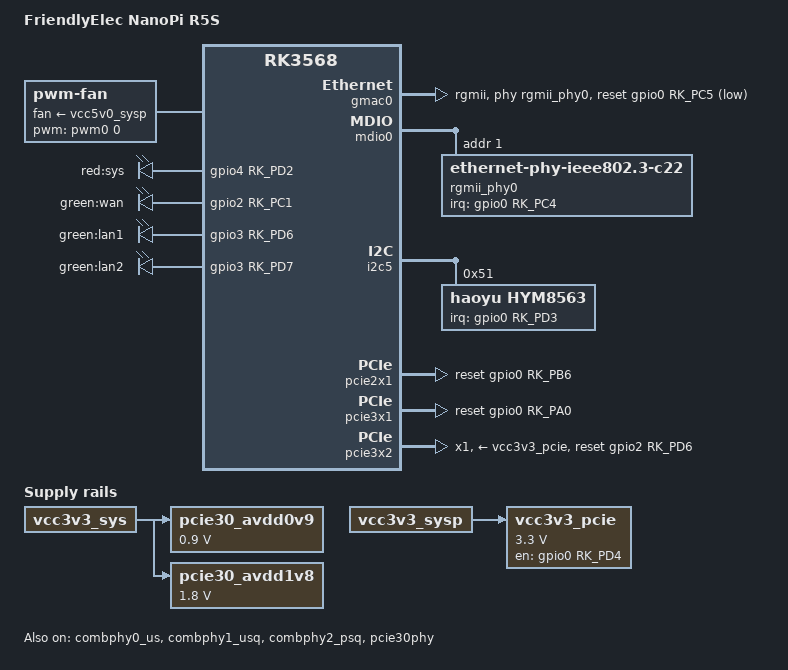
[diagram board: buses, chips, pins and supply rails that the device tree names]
// SPDX-License-Identifier: (GPL-2.0+ OR MIT)
/*
 * Copyright (c) 2021 FriendlyElec Computer Tech. Co., Ltd.
 * (http://www.friendlyarm.com)
 *
 * Copyright (c) 2020 Rockchip Electronics Co., Ltd.
 */

/dts-v1/;

#include "rk3568.dtsi"
#include "rk3568-nanopi5-common.dtsi"

/ {
	model = "FriendlyElec NanoPi R5S";
	compatible = "friendlyelec,nanopi-r5s", "rockchip,rk3568";

	aliases {
		ethernet1 = &r8125_1;
		led-boot = &sys_led;
		led-failsafe = &sys_led;
		led-running = &sys_led;
		led-upgrade = &sys_led;
	};

	fan: pwm-fan {
		compatible = "pwm-fan";
		cooling-levels = <0 18 102 170 255>;
		#cooling-cells = <2>;
		fan-supply = <&vcc5v0_sysp>;
		pwms = <&pwm0 0 50000 0>;
	};

	gpio_leds: gpio-leds {
		compatible = "gpio-leds";
		pinctrl-names = "default";
		pinctrl-0 = <&sys_led_pin>,
			<&wan_led_pin>,
			<&lan1_led_pin>,
			<&lan2_led_pin>;
		sys_led: led-0 {
			gpios = <&gpio4 RK_PD2 GPIO_ACTIVE_HIGH>;
			label = "red:sys";
			linux,default-trigger = "heartbeat";
		};

		wan_led: led-1 {
			gpios = <&gpio2 RK_PC1 GPIO_ACTIVE_HIGH>;
			label = "green:wan";
		};

		lan1_led: led-2 {
			gpios = <&gpio3 RK_PD6 GPIO_ACTIVE_HIGH>;
			label = "green:lan1";
		};

		lan2_led: led-3 {
			gpios = <&gpio3 RK_PD7 GPIO_ACTIVE_HIGH>;
			label = "green:lan2";
		};
	};

	pcie30_avdd0v9: pcie30-avdd0v9 {
		compatible = "regulator-fixed";
		regulator-name = "pcie30_avdd0v9";
		regulator-always-on;
		regulator-boot-on;
		regulator-min-microvolt = <900000>;
		regulator-max-microvolt = <900000>;
		vin-supply = <&vcc3v3_sys>;
	};

	pcie30_avdd1v8: pcie30-avdd1v8 {
		compatible = "regulator-fixed";
		regulator-name = "pcie30_avdd1v8";
		regulator-always-on;
		regulator-boot-on;
		regulator-min-microvolt = <1800000>;
		regulator-max-microvolt = <1800000>;
		vin-supply = <&vcc3v3_sys>;
	};

	vcc3v3_pcie: gpio-regulator {
		compatible = "regulator-fixed";
		regulator-name = "vcc3v3_pcie";
		regulator-min-microvolt = <3300000>;
		regulator-max-microvolt = <3300000>;
		enable-active-high;
		gpio = <&gpio0 RK_PD4 GPIO_ACTIVE_HIGH>;
		startup-delay-us = <5000>;
		vin-supply = <&vcc3v3_sysp>;
	};
};

&combphy0_us {
	status = "okay";
};

&combphy1_usq {
	status = "okay";
};

&combphy2_psq {
	status = "okay";
};

&dfi {
	status = "disabled";
};

&dmc {
	status = "disabled";
};

&gmac0 {
	phy-mode = "rgmii";
	clock_in_out = "output";

	snps,reset-gpio = <&gpio0 RK_PC5 GPIO_ACTIVE_LOW>;
	snps,reset-active-low;
	/* Reset time is 15ms, 50ms for rtl8211f */
	snps,reset-delays-us = <0 15000 50000>;

	assigned-clocks = <&cru SCLK_GMAC0_RX_TX>, <&cru SCLK_GMAC0>;
	assigned-clock-parents = <&cru SCLK_GMAC0_RGMII_SPEED>, <&cru CLK_MAC0_2TOP>;
	assigned-clock-rates = <0>, <125000000>;

	pinctrl-names = "default";
	pinctrl-0 = <&gmac0_miim
		     &gmac0_tx_bus2
		     &gmac0_rx_bus2
		     &gmac0_rgmii_clk
		     &gmac0_rgmii_bus>;

	tx_delay = <0x3c>;
	rx_delay = <0x2f>;

	phy-handle = <&rgmii_phy0>;
	status = "okay";
};

&mach {
    hwrev = <1>;
    model = "NanoPi R5S";
};

&mdio0 {
	rgmii_phy0: phy@1 {
		compatible = "ethernet-phy-ieee802.3-c22";
		reg = <0x1>;
		interrupt-parent = <&gpio0>;
		interrupts = <RK_PC4 IRQ_TYPE_LEVEL_LOW>;
		pinctrl-names = "default";
		pinctrl-0 = <&gmac_int>;
	};
};

&i2c5 {
	status = "okay";

	hym8563: hym8563@51 {
		compatible = "haoyu,hym8563";
		reg = <0x51>;
		pinctrl-names = "default";
		pinctrl-0 = <&rtc_int>;
		interrupt-parent = <&gpio0>;
		interrupts = <RK_PD3 IRQ_TYPE_LEVEL_LOW>;
		wakeup-source;
	};
};

&pcie30phy {
	status = "okay";
};

&pcie2x1 {
	num-viewport = <4>;
	reset-gpios = <&gpio0 RK_PB6 GPIO_ACTIVE_HIGH>;
	status = "okay";

	pcie@00 {
		reg = <0x00000000 0 0 0 0>;
		#address-cells = <3>;
		#size-cells = <2>;

		r8125_1: pcie@01,0 {
			reg = <0x000000 0 0 0 0>;
			local-mac-address = [ 00 00 00 00 00 00 ];
		};
	};
};

&pcie3x1 {
	num-viewport = <4>;
	rockchip,bifurcation;
	rockchip,init-delay-ms = <100>;
	reset-gpios = <&gpio0 RK_PA0 GPIO_ACTIVE_HIGH>;
	status = "okay";

	pcie@10 {
		reg = <0x00100000 0 0 0 0>;
		#address-cells = <3>;
		#size-cells = <2>;

		r8125_2: pcie@10,0 {
			reg = <0x000000 0 0 0 0>;
			local-mac-address = [ 00 00 00 00 00 00 ];
		};
	};
};

&pcie3x2 {
	max-link-speed = <2>;
	num-lanes = <1>;
	num-ib-windows = <8>;
	num-ob-windows = <8>;
	num-viewport = <4>;
	rockchip,bifurcation;
	reset-gpios = <&gpio2 RK_PD6 GPIO_ACTIVE_HIGH>;
	vpcie3v3-supply = <&vcc3v3_pcie>;
	status = "okay";
};

&pinctrl {
	gpio-leds {
		sys_led_pin: sys-led-pin {
			rockchip,pins =
				<4 RK_PD2 RK_FUNC_GPIO &pcfg_pull_none>;
		};

		wan_led_pin: wan-led-pin {
			rockchip,pins =
				<2 RK_PC1 RK_FUNC_GPIO &pcfg_pull_none>;
		};

		lan1_led_pin: lan1-led-pin {
			rockchip,pins =
				<3 RK_PD6 RK_FUNC_GPIO &pcfg_pull_none>;
		};

		lan2_led_pin: lan2-led-pin {
			rockchip,pins =
				<3 RK_PD7 RK_FUNC_GPIO &pcfg_pull_none>;
		};
	};

	gmac {
		gmac_int: gmac-int {
			rockchip,pins =
				<0 RK_PC4 RK_FUNC_GPIO &pcfg_pull_up>;
		};
	};

	rtc {
		rtc_int: rtc-int {
			rockchip,pins =
				<0 RK_PD3 RK_FUNC_GPIO &pcfg_pull_up>;
		};
	};
};

&sata2 {
	status = "disabled";
};

&soc_thermal {
	trips {
		cpu_warm: cpu_warm {
			temperature = <55000>;
			hysteresis = <2000>;
			type = "active";
		};

		cpu_hot: cpu_hot {
			temperature = <65000>;
			hysteresis = <2000>;
			type = "active";
		};
	};

	cooling-maps {
		map2 {
			trip = <&cpu_warm>;
			cooling-device = <&fan THERMAL_NO_LIMIT 1>;
		};

		map3 {
			trip = <&cpu_hot>;
			cooling-device = <&fan 2 THERMAL_NO_LIMIT>;
		};
	};
};
